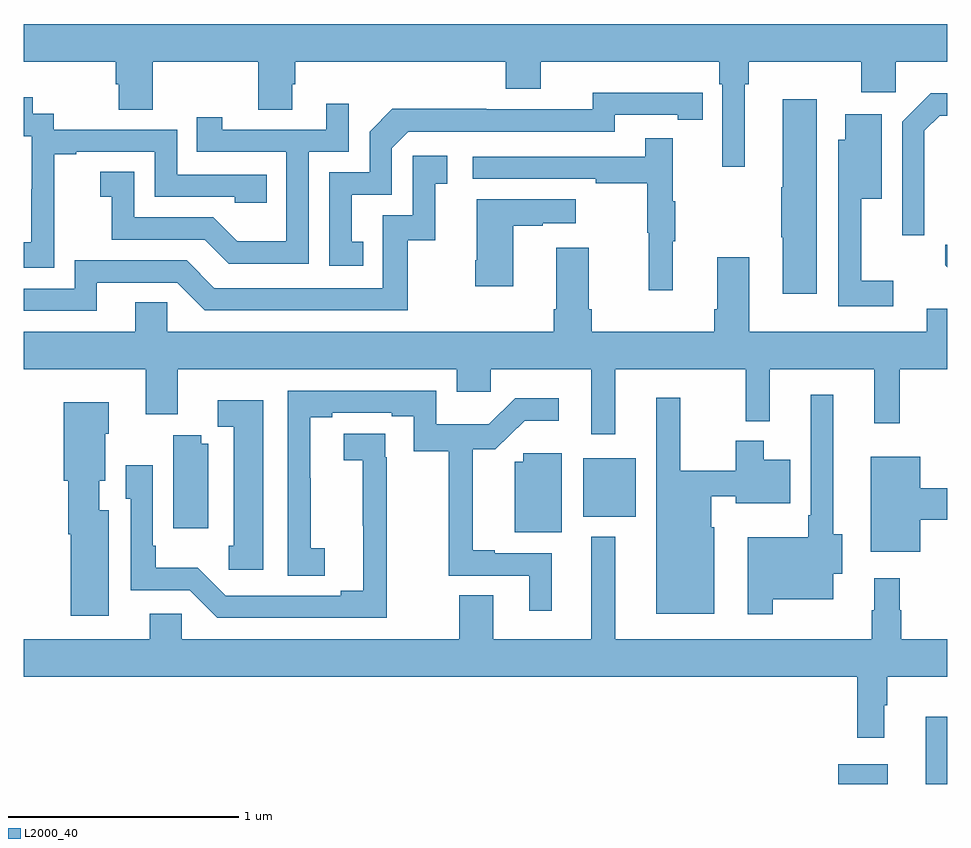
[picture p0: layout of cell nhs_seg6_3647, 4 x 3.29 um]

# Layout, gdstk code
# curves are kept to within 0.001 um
import gdstk
lib = gdstk.Library(unit=1e-6, precision=1e-09)
def R(c, l, rs):  # rectangles x0, y0, x1, y1
    for r in rs: c.add(gdstk.rectangle(r[:2], r[2:], *l))
def P(c, l, *ps):  # polygons
    for p in ps: c.add(gdstk.Polygon(p, *l))
L2000_40 = (2000, 40)

nhs_seg6_3647 = lib.new_cell('nhs_seg6_3647')
R(nhs_seg6_3647, L2000_40, [(326.528,985.5,326.743,985.585), (326.906,985.5,327,985.792), (325.424,986.657,325.651,986.911)])
P(nhs_seg6_3647, L2000_40, [(326.122,988.532),(326.141,988.532),(326.141,988.628),(326.627,988.628),(326.627,988.497),(326.778,988.497),(326.778,988.628),(327,988.628),(327,988.792),(323,988.792),(323,988.628),(323.399,988.628),(323.399,988.53),(323.411,988.53),(323.411,988.42),(323.559,988.42),(323.559,988.628),(324.016,988.628),(324.016,988.42),(324.163,988.42),(324.163,988.53),(324.176,988.53),(324.176,988.628),(325.088,988.628),(325.088,988.511),(325.24,988.511),(325.24,988.628),(326.012,988.628),(326.012,988.532),(326.025,988.532),(326.025,988.173),(326.122,988.173)],
  [(324.47,987.849),(324.421,987.849),(324.421,988.053),(324.594,988.053),(324.594,988.254),(324.666,988.326),(325.56,988.326),(325.56,988.398),(325.832,988.398),(325.832,988.378),(325.94,988.378),(325.94,988.494),(325.464,988.495),(325.464,988.422),(325.004,988.422),(325.004,988.424),(324.596,988.424),(324.498,988.326),(324.498,988.149),(324.324,988.149),(324.324,987.744),(324.47,987.744)],
  [(326.901,988.329),(326.967,988.395),(327,988.395),(327,988.492),(326.928,988.492),(326.805,988.369),(326.805,987.876),(326.901,987.876)],
  [(323.133,987.943),(323.132,987.943),(323.132,988.227),(323.227,988.227),(323.227,988.239),(323.568,988.239),(323.568,988.044),(323.913,988.044),(323.913,988.017),(324.053,988.017),(324.053,988.14),(323.664,988.14),(323.664,988.335),(323.13,988.335),(323.13,988.404),(323.038,988.404),(323.038,988.474),(323,988.474),(323,988.305),(323.034,988.305),(323.034,988.076),(323.033,988.076),(323.033,987.847),(323,987.847),(323,987.737),(323.133,987.737)],
  [(326.434,988.465),(326.288,988.465),(326.288,988.085),(326.281,988.085),(326.281,987.868),(326.288,987.868),(326.288,987.624),(326.434,987.624)],
  [(324.234,988.239),(324.408,988.239),(324.408,988.447),(324.311,988.447),(324.311,988.335),(323.86,988.335),(323.86,988.387),(323.749,988.387),(323.749,988.239),(324.138,988.239),(324.138,987.85),(323.924,987.85),(323.82,987.954),(323.478,987.954),(323.478,988.153),(323.331,988.153),(323.331,988.043),(323.38,988.043),(323.38,987.858),(323.783,987.858),(323.888,987.753),(324.234,987.753)],
  [(326.767,987.679),(326.627,987.679),(326.627,988.034),(326.716,988.034),(326.716,988.402),(326.558,988.402),(326.558,988.291),(326.529,988.291),(326.529,987.57),(326.767,987.57)],
  [(325.811,987.851),(325.822,987.851),(325.822,988.025),(325.811,988.025),(325.811,988.297),(325.693,988.297),(325.693,988.218),(324.945,988.218),(324.945,988.122),(325.477,988.122),(325.477,988.102),(325.701,988.102),(325.701,987.888),(325.708,987.888),(325.708,987.639),(325.811,987.639)],
  [(323.317,987.672),(323.664,987.672),(323.784,987.552),(324.664,987.552),(324.664,987.855),(324.782,987.855),(324.782,988.101),(324.835,988.101),(324.835,988.222),(324.684,988.222),(324.684,987.963),(324.555,987.963),(324.555,987.648),(323.826,987.648),(323.706,987.768),(323.22,987.768),(323.22,987.645),(323,987.645),(323,987.549),(323.317,987.549)],
  [(325.12,987.919),(325.247,987.919),(325.247,987.929),(325.39,987.929),(325.39,988.033),(324.962,988.033),(324.962,987.769),(324.955,987.769),(324.955,987.657),(325.12,987.657)],
  [(327,987.835),(326.991,987.835),(326.991,987.747),(327,987.738)],
  [(323.483,987.46),(323,987.46),(323,987.296),(323.528,987.296),(323.528,987.102),(323.668,987.102),(323.668,987.296),(324.875,987.296),(324.875,987.198),(325.022,987.198),(325.022,987.296),(325.457,987.296),(325.457,987.015),(325.561,987.015),(325.561,987.296),(326.128,987.296),(326.128,987.071),(326.231,987.071),(326.231,987.296),(326.684,987.296),(326.684,987.063),(326.794,987.063),(326.794,987.296),(327,987.296),(327,987.558),(326.912,987.558),(326.912,987.46),(326.143,987.46),(326.143,987.781),(326.003,987.781),(326.003,987.556),(325.991,987.556),(325.991,987.46),(325.46,987.46),(325.46,987.556),(325.447,987.556),(325.447,987.823),(325.307,987.823),(325.307,987.556),(325.295,987.556),(325.295,987.46),(323.622,987.46),(323.622,987.587),(323.483,987.587)],
  [(325.288,986.499),(325.039,986.499),(325.039,986.512),(324.944,986.512),(324.944,986.949),(325.043,986.949),(325.169,987.074),(325.318,987.074),(325.318,987.171),(325.128,987.171),(325.015,987.058),(324.786,987.058),(324.786,987.204),(324.144,987.204),(324.144,986.401),(324.304,986.401),(324.304,986.521),(324.243,986.521),(324.243,986.825),(324.241,986.825),(324.241,987.088),(324.337,987.088),(324.337,987.108),(324.593,987.108),(324.593,987.094),(324.69,987.094),(324.69,986.941),(324.841,986.941),(324.841,986.403),(325.19,986.403),(325.19,986.25),(325.288,986.25)],
  [(326.245,986.3),(326.506,986.3),(326.506,986.411),(326.545,986.411),(326.545,986.582),(326.506,986.582),(326.506,987.187),(326.409,987.187),(326.409,986.665),(326.397,986.665),(326.397,986.569),(326.136,986.569),(326.136,986.235),(326.245,986.235)],
  [(325.99,986.613),(325.978,986.613),(325.978,986.747),(326.084,986.747),(326.084,986.717),(326.32,986.717),(326.32,986.905),(326.206,986.905),(326.206,986.986),(326.084,986.986),(326.084,986.857),(325.843,986.857),(325.843,987.172),(325.739,987.172),(325.739,986.237),(325.99,986.237)],
  [(324.037,987.163),(323.841,987.163),(323.841,987.048),(323.909,987.048),(323.909,986.532),(323.887,986.532),(323.887,986.427),(324.037,986.427)],
  [(323.368,986.686),(323.326,986.686),(323.326,986.814),(323.352,986.814),(323.352,987.018),(323.368,987.018),(323.368,987.154),(323.174,987.154),(323.174,986.814),(323.192,986.814),(323.192,986.582),(323.204,986.582),(323.204,986.229),(323.368,986.229)],
  [(324.572,986.915),(324.566,986.915),(324.566,987.017),(324.387,987.017),(324.387,986.902),(324.469,986.902),(324.47,986.336),(324.374,986.336),(324.374,986.316),(323.874,986.316),(323.753,986.437),(323.572,986.437),(323.572,986.533),(323.559,986.533),(323.559,986.881),(323.442,986.881),(323.442,986.736),(323.463,986.736),(323.463,986.34),(323.718,986.34),(323.838,986.22),(324.572,986.22)],
  [(323.8,986.974),(323.768,986.974),(323.768,987.011),(323.648,987.011),(323.648,986.607),(323.8,986.607)],
  [(325.33,986.932),(325.164,986.932),(325.164,986.896),(325.127,986.896),(325.127,986.591),(325.33,986.591)],
  [(326.884,986.644),(327,986.644),(327,986.78),(326.884,986.78),(326.884,986.917),(326.669,986.917),(326.669,986.507),(326.884,986.507)],
  [(326.728,985.841),(326.74,985.841),(326.74,985.964),(327,985.964),(327,986.128),(326.801,986.128),(326.801,986.252),(326.794,986.252),(326.794,986.392),(326.684,986.392),(326.684,986.252),(326.673,986.252),(326.673,986.128),(325.561,986.128),(325.561,986.572),(325.457,986.572),(325.457,986.128),(325.033,986.128),(325.033,986.318),(324.886,986.318),(324.886,986.128),(323.685,986.128),(323.685,986.238),(323.546,986.238),(323.546,986.128),(323,986.128),(323,985.964),(326.611,985.964),(326.611,985.701),(326.728,985.701)])

lib.write_gds('nhs_seg6_3647.gds')
